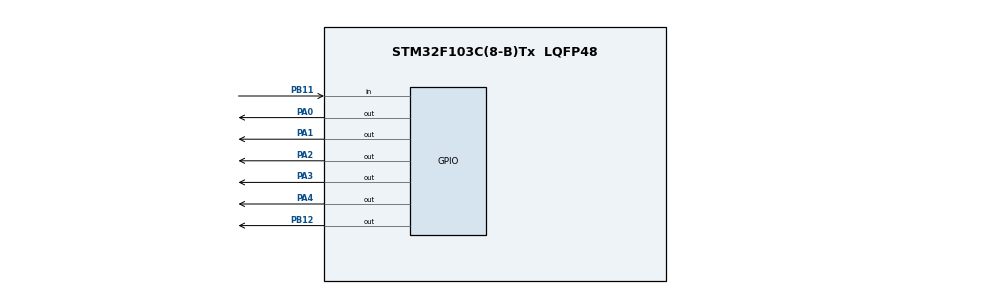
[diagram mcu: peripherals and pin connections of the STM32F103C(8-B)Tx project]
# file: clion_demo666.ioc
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Mcu.Family=STM32F1
Mcu.Name=STM32F103C(8-B)Tx
Mcu.Package=LQFP48
NVIC.PriorityGroup=NVIC_PRIORITYGROUP_4
PA0-WKUP.Signal=GPIO_Output
PA1.PinState=GPIO_PIN_SET
PA1.Signal=GPIO_Output
PA13.Mode=Serial_Wire
PA13.Signal=SYS_JTMS-SWDIO
PA14.Mode=Serial_Wire
PA14.Signal=SYS_JTCK-SWCLK
PA2.PinState=GPIO_PIN_SET
PA2.Signal=GPIO_Output
PA3.PinState=GPIO_PIN_SET
PA3.Signal=GPIO_Output
PA4.PinState=GPIO_PIN_SET
PA4.Signal=GPIO_Output
PB11.GPIO_PuPd=GPIO_PULLUP
PB11.Signal=GPIO_Input
PB12.Signal=GPIO_Output
ProjectManager.HeapSize=0x200
ProjectManager.StackSize=0x400
ProjectManager.TargetToolchain=CMake
RCC.APB1Freq_Value=8000000
RCC.APB2Freq_Value=8000000
board=custom

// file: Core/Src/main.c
/* USER CODE BEGIN Header */
/**
  ******************************************************************************
  * @file           : main.c
  * @brief          : Main program body
  ******************************************************************************
  * @attention
  *
  * Copyright (c) 2026 STMicroelectronics.
  * All rights reserved.
  *
  * This software is licensed under terms that can be found in the LICENSE file
  * in the root directory of this software component.
  * If no LICENSE file comes with this software, it is provided AS-IS.
  *
  ******************************************************************************
  */
/* USER CODE END Header */
#include "main.h"
#include "gpio.h"

void SystemClock_Config(void);

int main(void)
{

  /* MCU Configuration--------------------------------------------------------*/

  /* Reset of all peripherals, Initializes the Flash interface and the Systick. */
  HAL_Init();

  /* Configure the system clock */
  SystemClock_Config();

  /* Initialize all configured peripherals */
  MX_GPIO_Init();
  HAL_GPIO_WritePin(GPIOA, GPIO_PIN_1, GPIO_PIN_SET);

  /* Infinite loop */
  /* USER CODE BEGIN WHILE */
  static GPIO_PinState keyend = GPIO_PIN_SET;
   uint16_t led[]={GPIO_PIN_1,GPIO_PIN_2,GPIO_PIN_3,GPIO_PIN_4};
int i=0;
  int j=1;
  while (1)
  {
    /* USER CODE END WHILE */

    /* USER CODE BEGIN 3 */
    GPIO_PinState key = HAL_GPIO_ReadPin(GPIOB, GPIO_PIN_11);
    if (keyend == GPIO_PIN_SET && key == GPIO_PIN_RESET)
    {HAL_Delay(15);
      if (HAL_GPIO_ReadPin(GPIOB,GPIO_PIN_11) == GPIO_PIN_RESET) {
        j=-j;

      }
    }
    HAL_GPIO_WritePin(GPIOA, led[i],GPIO_PIN_RESET);
    HAL_Delay(200);
    HAL_GPIO_WritePin(GPIOA, led[i],GPIO_PIN_SET);
    i=i+j;
    if (i<0) {
      i=sizeof(led)/sizeof(led[0])-1;
    }
    if (i>sizeof(led)/sizeof(led[0])-1) {
      i=0;
    }
    keyend=key;
  }

  /* USER CODE END 3 */
}

void SystemClock_Config(void)
{
  RCC_OscInitTypeDef RCC_OscInitStruct = {0};
  RCC_ClkInitTypeDef RCC_ClkInitStruct = {0};

  /** Initializes the RCC Oscillators according to the specified parameters
  * in the RCC_OscInitTypeDef structure.
  */
  RCC_OscInitStruct.OscillatorType = RCC_OSCILLATORTYPE_HSI;
  RCC_OscInitStruct.HSIState = RCC_HSI_ON;
  RCC_OscInitStruct.HSICalibrationValue = RCC_HSICALIBRATION_DEFAULT;
  RCC_OscInitStruct.PLL.PLLState = RCC_PLL_NONE;
  if (HAL_RCC_OscConfig(&RCC_OscInitStruct) != HAL_OK)
  {
    Error_Handler();
  }

  /** Initializes the CPU, AHB and APB buses clocks
  */
  RCC_ClkInitStruct.ClockType = RCC_CLOCKTYPE_HCLK|RCC_CLOCKTYPE_SYSCLK
                              |RCC_CLOCKTYPE_PCLK1|RCC_CLOCKTYPE_PCLK2;
  RCC_ClkInitStruct.SYSCLKSource = RCC_SYSCLKSOURCE_HSI;
  RCC_ClkInitStruct.AHBCLKDivider = RCC_SYSCLK_DIV1;
  RCC_ClkInitStruct.APB1CLKDivider = RCC_HCLK_DIV1;
  RCC_ClkInitStruct.APB2CLKDivider = RCC_HCLK_DIV1;

  if (HAL_RCC_ClockConfig(&RCC_ClkInitStruct, FLASH_LATENCY_0) != HAL_OK)
  {
    Error_Handler();
  }
}

void Error_Handler(void)
{
  __disable_irq();
  while (1)
  {
  }
}
